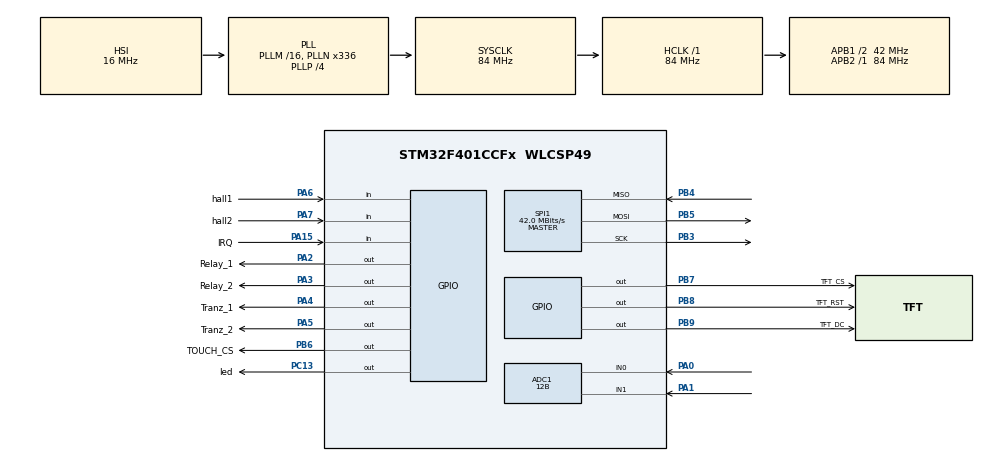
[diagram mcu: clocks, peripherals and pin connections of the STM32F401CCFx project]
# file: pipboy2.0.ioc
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Mcu.Family=STM32F4
RCC.CortexFreq_Value=84000000
SPI1.VirtualType=VM_MASTER
ADC1.ContinuousConvMode=DISABLE
PB6.GPIO_Label=TOUCH_CS
PA6.GPIO_Label=hall1
RCC.SYSCLKSource=RCC_SYSCLKSOURCE_PLLCLK
ProjectManager.StackSize=0x400
NVIC.ADC_IRQn=true\:0\:0\:false\:false\:true\:true\:true
PA15.GPIO_Label=IRQ
PH0\ -\ OSC_IN.Signal=RCC_OSC_IN
ADC1.Channel-5\#ChannelRegularConversion=ADC_CHANNEL_0
SPI1.Direction=SPI_DIRECTION_2LINES
RCC.HCLKFreq_Value=84000000
ADC1.Resolution=ADC_RESOLUTION_12B
RCC.APB2TimFreq_Value=84000000
PB6.Signal=GPIO_Output
SPI1.CalculateBaudRate=42.0 MBits/s
RCC.AHBFreq_Value=84000000
RCC.HSE_VALUE=25000000
PB3.Mode=Full_Duplex_Master
ADC1.ScanConvMode=DISABLE
PC13-ANTI_TAMP.Signal=GPIO_Output
PB4.Mode=Full_Duplex_Master
PC14-OSC32_IN.Mode=LSE-External-Oscillator
PB5.Mode=Full_Duplex_Master
PB7.Signal=GPIO_Output
SH.ADCx_IN0.0=ADC1_IN0,IN0
PB7.GPIO_Label=TFT_CS
Mcu.Package=WLCSP49
PB9.Signal=GPIO_Output
PA6.Signal=GPIO_Input
PA2.GPIO_Label=Relay_1
PA15.Signal=GPIO_Input
SH.ADCx_IN1.0=ADC1_IN1,IN1
RCC.APB1TimFreq_Value=84000000
SPI1.BaudRatePrescaler=SPI_BAUDRATEPRESCALER_2
PA4.GPIO_Label=Tranz_1
PB4.Signal=SPI1_MISO
PA3.Signal=GPIO_Output
PC15-OSC32_OUT.Mode=LSE-External-Oscillator
PB9.GPIO_Label=TFT_DC
PC13-ANTI_TAMP.GPIO_Label=led
PH1\ -\ OSC_OUT.Mode=HSE-External-Oscillator
RCC.APB1CLKDivider=RCC_HCLK_DIV2
PC14-OSC32_IN.Signal=RCC_OSC32_IN
PA0-WKUP.Signal=ADCx_IN0
PB8.GPIO_Label=TFT_RST
PH0\ -\ OSC_IN.Mode=HSE-External-Oscillator
ProjectManager.TargetToolchain=STM32CubeIDE
PC15-OSC32_OUT.Signal=RCC_OSC32_OUT
PA1.Signal=ADCx_IN1
PA5.Signal=GPIO_Output
PH1\ -\ OSC_OUT.Signal=RCC_OSC_OUT
board=custom
RCC.VCOOutputFreq_Value=336000000
RCC.APB2Freq_Value=84000000
SPI1.Mode=SPI_MODE_MASTER
ADC1.DMAContinuousRequests=DISABLE
ADC1.NbrOfConversion=1
Mcu.Name=STM32F401CCFx
PA2.Signal=GPIO_Output
ADC1.ExternalTrigConv=ADC_SOFTWARE_START
RCC.48MHZClocksFreq_Value=84000000
PB3.Signal=SPI1_SCK
PA4.Signal=GPIO_Output
RCC.SYSCLKFreq_VALUE=84000000
PB5.Signal=SPI1_MOSI
PA7.GPIO_Label=hall2
ADC1.master=1
PA5.GPIO_Label=Tranz_2
ProjectManager.HeapSize=0x200
ADC1.SamplingTime-5\#ChannelRegularConversion=ADC_SAMPLETIME_480CYCLES
RCC.HSI_VALUE=16000000
RCC.PLLP=RCC_PLLP_DIV4
NVIC.PriorityGroup=NVIC_PRIORITYGROUP_4
ADC1.NbrOfConversionFlag=1
RCC.PLLN=336
PB8.Signal=GPIO_Output
RCC.APB1Freq_Value=42000000
ADC1.Rank-5\#ChannelRegularConversion=1
PA3.GPIO_Label=Relay_2
PA7.Signal=GPIO_Input

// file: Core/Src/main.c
/* USER CODE BEGIN Header */
/**
  ******************************************************************************
  * @file           : main.c
  * @brief          : Main program body
  ******************************************************************************
  * @attention
  *
  * <h2><center>&copy; Copyright (c) 2021 STMicroelectronics.
  * All rights reserved.</center></h2>
  *
  * This software component is licensed by ST under BSD 3-Clause license,
  * the "License"; You may not use this file except in compliance with the
  * License. You may obtain a copy of the License at:
  *                        opensource.org/licenses/BSD-3-Clause
  *
  ******************************************************************************
  */
/* USER CODE END Header */
#include "main.h"

/* USER CODE BEGIN Includes */
#include "ILI9341_GFX.h"
#include "fonts.h"
#include "img.h"
#include "xpt2046_touch.h"
/* USER CODE END Includes */

/* USER CODE BEGIN PD */
void startup(void);
_Bool touch_work(void);
void main_cicle(void);
char buf[64] = {0,};
void draw_rect_tol (uint16_t kx1,uint16_t ky1,uint16_t kx2,uint16_t ky2,uint16_t fon,uint16_t tol);
uint8_t button_click(void);
void ADC_out(void);
void ADC_SetActiveChannel(ADC_HandleTypeDef *hadc, uint32_t AdcChannel);
void ADC_Select_CH0 (void);
void ADC_Select_CH1 (void);
uint32_t adcBuffer[2];
uint8_t flag_press = 1;
uint32_t time_press = 0;
int licznik = 0;
int adc_sum[2];
int adc_buf[2];
void adc_show(void);
uint8_t flag_hold = 1;
uint32_t timme_hold = 0;
void button_draw_icons(void);
void curent_state_raport(void);
void pneumo_start(void);
uint16_t t_installed[2] = {60,55 };
uint16_t t_readed[2] = {0,0};
_Bool menu_position[10] = {0,0,0,0,0,0,0,0,0,0};
void heaters_start(void);
void heaters_stop(void);
void perekluchatel(int passed);
int plus_minus_addon(int passed);
uint16_t x = 0;
uint16_t y = 0;
uint16_t buttons_coord[10][4]={
		{20,20,75,50},
		{95,20,150,50},
		{170,20,225,50},
		{245,20,300,50},
		{200,80,300,120},
		{200,140,300,180},

		{10,90,60,120},
		{70,90,120,120},
		{10,130,60,160},
		{70,130,120,160}		//test buttons

};

/* USER CODE END PD */

ADC_HandleTypeDef hadc1;

SPI_HandleTypeDef hspi1;

void SystemClock_Config(void);
static void MX_GPIO_Init(void);
static void MX_SPI1_Init(void);
static void MX_ADC1_Init(void);

int main(void)
{

  /* MCU Configuration--------------------------------------------------------*/

  /* Reset of all peripherals, Initializes the Flash interface and the Systick. */
  HAL_Init();

  /* Configure the system clock */
  SystemClock_Config();

  /* Initialize all configured peripherals */
  MX_GPIO_Init();
  MX_SPI1_Init();
  MX_ADC1_Init();
  /* USER CODE BEGIN 2 */
  startup();
  /* USER CODE END 2 */

  /* Infinite loop */
  while (1)
  {

    /* USER CODE BEGIN 3 */
	  main_cicle();
  }
  /* USER CODE END 3 */
}

void SystemClock_Config(void)
{
  RCC_OscInitTypeDef RCC_OscInitStruct = {0};
  RCC_ClkInitTypeDef RCC_ClkInitStruct = {0};

  /** Configure the main internal regulator output voltage
  */
  __HAL_RCC_PWR_CLK_ENABLE();
  __HAL_PWR_VOLTAGESCALING_CONFIG(PWR_REGULATOR_VOLTAGE_SCALE2);
  /** Initializes the RCC Oscillators according to the specified parameters
  * in the RCC_OscInitTypeDef structure.
  */
  RCC_OscInitStruct.OscillatorType = RCC_OSCILLATORTYPE_HSI;
  RCC_OscInitStruct.HSIState = RCC_HSI_ON;
  RCC_OscInitStruct.HSICalibrationValue = RCC_HSICALIBRATION_DEFAULT;
  RCC_OscInitStruct.PLL.PLLState = RCC_PLL_ON;
  RCC_OscInitStruct.PLL.PLLSource = RCC_PLLSOURCE_HSI;
  RCC_OscInitStruct.PLL.PLLM = 16;
  RCC_OscInitStruct.PLL.PLLN = 336;
  RCC_OscInitStruct.PLL.PLLP = RCC_PLLP_DIV4;
  RCC_OscInitStruct.PLL.PLLQ = 4;
  if (HAL_RCC_OscConfig(&RCC_OscInitStruct) != HAL_OK)
  {
    Error_Handler();
  }
  /** Initializes the CPU, AHB and APB buses clocks
  */
  RCC_ClkInitStruct.ClockType = RCC_CLOCKTYPE_HCLK|RCC_CLOCKTYPE_SYSCLK
                              |RCC_CLOCKTYPE_PCLK1|RCC_CLOCKTYPE_PCLK2;
  RCC_ClkInitStruct.SYSCLKSource = RCC_SYSCLKSOURCE_PLLCLK;
  RCC_ClkInitStruct.AHBCLKDivider = RCC_SYSCLK_DIV1;
  RCC_ClkInitStruct.APB1CLKDivider = RCC_HCLK_DIV2;
  RCC_ClkInitStruct.APB2CLKDivider = RCC_HCLK_DIV1;

  if (HAL_RCC_ClockConfig(&RCC_ClkInitStruct, FLASH_LATENCY_2) != HAL_OK)
  {
    Error_Handler();
  }
}

static void MX_ADC1_Init(void)
{

  ADC_ChannelConfTypeDef sConfig = {0};

  /** Configure the global features of the ADC (Clock, Resolution, Data Alignment and number of conversion)
  */
  hadc1.Instance = ADC1;
  hadc1.Init.ClockPrescaler = ADC_CLOCK_SYNC_PCLK_DIV4;
  hadc1.Init.Resolution = ADC_RESOLUTION_12B;
  hadc1.Init.ScanConvMode = DISABLE;
  hadc1.Init.ContinuousConvMode = DISABLE;
  hadc1.Init.DiscontinuousConvMode = DISABLE;
  hadc1.Init.ExternalTrigConvEdge = ADC_EXTERNALTRIGCONVEDGE_NONE;
  hadc1.Init.ExternalTrigConv = ADC_SOFTWARE_START;
  hadc1.Init.DataAlign = ADC_DATAALIGN_RIGHT;
  hadc1.Init.NbrOfConversion = 1;
  hadc1.Init.DMAContinuousRequests = DISABLE;
  hadc1.Init.EOCSelection = ADC_EOC_SINGLE_CONV;
  if (HAL_ADC_Init(&hadc1) != HAL_OK)
  {
    Error_Handler();
  }
  /** Configure for the selected ADC regular channel its corresponding rank in the sequencer and its sample time.
  */
  sConfig.Channel = ADC_CHANNEL_0;
  sConfig.Rank = 1;
  sConfig.SamplingTime = ADC_SAMPLETIME_480CYCLES;
  if (HAL_ADC_ConfigChannel(&hadc1, &sConfig) != HAL_OK)
  {
    Error_Handler();
  }

}

static void MX_SPI1_Init(void)
{

  /* SPI1 parameter configuration*/
  hspi1.Instance = SPI1;
  hspi1.Init.Mode = SPI_MODE_MASTER;
  hspi1.Init.Direction = SPI_DIRECTION_2LINES;
  hspi1.Init.DataSize = SPI_DATASIZE_8BIT;
  hspi1.Init.CLKPolarity = SPI_POLARITY_LOW;
  hspi1.Init.CLKPhase = SPI_PHASE_1EDGE;
  hspi1.Init.NSS = SPI_NSS_SOFT;
  hspi1.Init.BaudRatePrescaler = SPI_BAUDRATEPRESCALER_2;
  hspi1.Init.FirstBit = SPI_FIRSTBIT_MSB;
  hspi1.Init.TIMode = SPI_TIMODE_DISABLE;
  hspi1.Init.CRCCalculation = SPI_CRCCALCULATION_DISABLE;
  hspi1.Init.CRCPolynomial = 10;
  if (HAL_SPI_Init(&hspi1) != HAL_OK)
  {
    Error_Handler();
  }

}

static void MX_GPIO_Init(void)
{
  GPIO_InitTypeDef GPIO_InitStruct = {0};

  /* GPIO Ports Clock Enable */
  __HAL_RCC_GPIOA_CLK_ENABLE();
  __HAL_RCC_GPIOB_CLK_ENABLE();
  __HAL_RCC_GPIOC_CLK_ENABLE();
  __HAL_RCC_GPIOH_CLK_ENABLE();

  /*Configure GPIO pin Output Level */
  HAL_GPIO_WritePin(GPIOB, TFT_RST_Pin|TOUCH_CS_Pin|TFT_DC_Pin|TFT_CS_Pin, GPIO_PIN_RESET);

  /*Configure GPIO pin Output Level */
  HAL_GPIO_WritePin(led_GPIO_Port, led_Pin, GPIO_PIN_RESET);

  /*Configure GPIO pin Output Level */
  HAL_GPIO_WritePin(GPIOA, Relay_2_Pin|Relay_1_Pin|Tranz_2_Pin|Tranz_1_Pin, GPIO_PIN_RESET);

  /*Configure GPIO pins : IRQ_Pin hall2_Pin hall1_Pin */
  GPIO_InitStruct.Pin = IRQ_Pin|hall2_Pin|hall1_Pin;
  GPIO_InitStruct.Mode = GPIO_MODE_INPUT;
  GPIO_InitStruct.Pull = GPIO_NOPULL;
  HAL_GPIO_Init(GPIOA, &GPIO_InitStruct);

  /*Configure GPIO pins : TFT_RST_Pin TOUCH_CS_Pin TFT_DC_Pin TFT_CS_Pin */
  GPIO_InitStruct.Pin = TFT_RST_Pin|TOUCH_CS_Pin|TFT_DC_Pin|TFT_CS_Pin;
  GPIO_InitStruct.Mode = GPIO_MODE_OUTPUT_PP;
  GPIO_InitStruct.Pull = GPIO_NOPULL;
  GPIO_InitStruct.Speed = GPIO_SPEED_FREQ_LOW;
  HAL_GPIO_Init(GPIOB, &GPIO_InitStruct);

  /*Configure GPIO pin : led_Pin */
  GPIO_InitStruct.Pin = led_Pin;
  GPIO_InitStruct.Mode = GPIO_MODE_OUTPUT_PP;
  GPIO_InitStruct.Pull = GPIO_NOPULL;
  GPIO_InitStruct.Speed = GPIO_SPEED_FREQ_LOW;
  HAL_GPIO_Init(led_GPIO_Port, &GPIO_InitStruct);

  /*Configure GPIO pins : Relay_2_Pin Relay_1_Pin Tranz_2_Pin Tranz_1_Pin */
  GPIO_InitStruct.Pin = Relay_2_Pin|Relay_1_Pin|Tranz_2_Pin|Tranz_1_Pin;
  GPIO_InitStruct.Mode = GPIO_MODE_OUTPUT_PP;
  GPIO_InitStruct.Pull = GPIO_PULLDOWN;
  GPIO_InitStruct.Speed = GPIO_SPEED_FREQ_LOW;
  HAL_GPIO_Init(GPIOA, &GPIO_InitStruct);

}

/* USER CODE BEGIN 4 */
void startup(void){
	__HAL_SPI_ENABLE(DISP_SPI_PTR); // включаем SPI
	 // HAL_TIM_Base_Start(&htim2);
	 // HAL_ADC_Start_DMA(&hadc1, adcBuffer, 2);
	 HAL_ADC_Start(&hadc1);
	  DISP_CS_UNSELECT;
	  TOUCH_CS_UNSELECT; // это нужно только если есть тач

	  /////////////////////////////////////////////////////////////////////////////////////////////////////////////////
	  ILI9341_Init(); // инициализация дисплея

	  /////////////////////////// далее демонстрируются различные пользовательские функции ////////////////////////////
	  ILI9341_Set_Rotation(SCREEN_HORIZONTAL_2); // установка ориентации экрана (варианты в файле ILI9341_GFX.h)

	  /////////////////////////////////////////////////////////////////////////////////////////////////////////////////
	  ILI9341_Fill_Screen(MYFON); // заливка всего экрана цветом (цвета в файле ILI9341_GFX.h)
	  //ILI9341_WriteString(10, 10, "Hello World", Font_7x10, WHITE, MYFON);

	  button_draw();
	  button_draw_icons();
}

_Bool touch_work(void)
{

	_Bool what_to_send = 0;
  if(HAL_GPIO_ReadPin(IRQ_GPIO_Port, IRQ_Pin) == GPIO_PIN_RESET && flag_press) // если нажат тачскрин
  {

	  	  x = 0;
          y = 0;

          TOUCH_CS_UNSELECT;
          DISP_CS_UNSELECT;

          HAL_SPI_DeInit(DISP_SPI_PTR);
          hspi1.Init.BaudRatePrescaler = SPI_BAUDRATEPRESCALER_128;
          HAL_SPI_Init(DISP_SPI_PTR);

          if(ILI9341_TouchGetCoordinates(&x, &y))
          {
                  flag_press = 0;
                  what_to_send = 1;

                  //////// вывод координат в уарт для отладки ////////
//                  snprintf(buf, 64, "X = %d, Y = %d\n", x, y);
//                  //HAL_UART_Transmit(&huart1, (uint8_t*)buf, strlen(buf), 100);
//                  buf[strlen(buf) - 1] = '\0';
                  ////////////////////////////////////////////////////
          }

          HAL_SPI_DeInit(DISP_SPI_PTR);
          hspi1.Init.BaudRatePrescaler = SPI_BAUDRATEPRESCALER_2;
          HAL_SPI_Init(DISP_SPI_PTR);

          __HAL_SPI_ENABLE(DISP_SPI_PTR);
          DISP_CS_SELECT;

          time_press = HAL_GetTick();
  }

  if(!flag_press && (HAL_GetTick() - time_press) > 200) // задержка до следующего нажатия
  {
          flag_press = 1;
  }

  //////////////////////////// удержание кнопки //////////////////////////////
  if(!flag_hold && HAL_GPIO_ReadPin(IRQ_GPIO_Port, IRQ_Pin) != GPIO_PIN_RESET)
  {
          flag_hold = 1;
  }

  if(!flag_hold && (HAL_GetTick() - timme_hold) > 2000) // 2 sek удержание кнопки
  {
          if(HAL_GPIO_ReadPin(IRQ_GPIO_Port, IRQ_Pin) == GPIO_PIN_RESET)
          {
//                  if(x > 5 && x < 90 && y > 160 && y < 230) // первая кнопка
//                  {
//                          //HAL_UART_Transmit(&huart1, (uint8_t*)"LONG PRESS_1\n", 13, 100); // отладка
//                          ILI9341_WriteString(10, 150, "LONG PRESS_1", Font_11x18, WHITE, MYFON); // отладка
//                          // что-то делаем
//                  }
//                  else if(x > 100 && x < 200 && y > 160 && y < 230) // вторая кнопка
//                  {
//                         // HAL_UART_Transmit(&huart1, (uint8_t*)"LONG PRESS_2\n", 13, 100); // отладка
//                          ILI9341_WriteString(10, 150, "LONG PRESS_1", Font_11x18, WHITE, MYFON); // отладка
//                          // что-то делаем
//                  }
          }

          flag_hold = 1;
  }
   return what_to_send;
}

void main_cicle(void){
int ff;
	if(touch_work()){
		ff = button_click();
		//if()
		//perekluchatel(plus_minus_addon(ff));
//		snprintf(buf, 64, "X = %d, Y = %d\n", x, y);
//		ILI9341_WriteString(10, 120, buf, Font_7x10, WHITE, MYFON);
//		snprintf(buf, 64, "button = %d", ff);
//		ILI9341_WriteString(10, 170, buf, Font_7x10, WHITE, MYFON);
		//perekluchatel();
	}
	ADC_out();
	adc_show();
//	for(int i=0;i<6;i++){
//		snprintf(buf, 64, "%d", menu_position[i] );
//		ILI9341_WriteString(10+10*i, 120, buf, Font_7x10, WHITE, MYFON);
//	}

	perekluchatel(ff);

curent_state_raport();
}

void adc_show(void){
		snprintf(buf, 64, "T GOL = %d", adc_buf[0]);
		ILI9341_WriteString(10, 230, buf, Font_7x10, WHITE, MYFON);
		snprintf(buf, 64, "T TRU = %d", adc_buf[1]);
		ILI9341_WriteString(100, 230, buf, Font_7x10, WHITE, MYFON);

		snprintf(buf, 64, "T GOL instal = %d", t_installed[0]);
		ILI9341_WriteString(10, 210, buf, Font_7x10, WHITE, MYFON);
		snprintf(buf, 64, "T TRUB instal = %d", t_installed[1]);
		ILI9341_WriteString(160, 210, buf, Font_7x10, WHITE, MYFON);

}

void curent_state_raport(void){
	for(int i=0;i<10;i++){
			snprintf(buf, 64, "%d", menu_position[i] );
			ILI9341_WriteString(10+10*i, 70, buf, Font_7x10, WHITE, MYFON);
		}
}

void button_draw(void){
	for(int i = 0; i <10; i++){
		draw_rect_tol(buttons_coord[i][0],buttons_coord[i][1],buttons_coord[i][2],buttons_coord[i][3],RED,3);
		//ILI9341_WriteString(buttons_coord[i][0]+5, buttons_coord[i][1]+5,but_icons[i], Font_7x10, RED, MYFON);
	}
}
void button_draw_icons(void){
	char *but_icons[10] ={
	"golovka",
	"truba",
	"start",
	"pneumo",
	"plus",
	"minus",
	"R 1",
	"R 2",
	"T 1",
	"T 2"
	};
	for(int i = 0; i <10; i++){
			//draw_rect_tol(buttons_coord[i][0],buttons_coord[i][1],buttons_coord[i][2],buttons_coord[i][3],RED,3);
			ILI9341_WriteString(buttons_coord[i][0]+5, buttons_coord[i][1]+5,but_icons[i], Font_7x10, RED, MYFON);
		}
}

void draw_rect_tol (uint16_t kx1,uint16_t ky1,uint16_t kx2,uint16_t ky2,uint16_t fon,uint16_t tol){
	for(int i=0;i<tol;i++){
		ILI9341_Draw_Hollow_Rectangle_Coord(kx1-i, ky1-i, kx2+i, ky2+i, fon);
	}
}

uint8_t button_click(void){
	uint8_t what_to_return;
	_Bool is_the_flag = 0;
	for(int i = 0; i <10; i++){
		if(x > buttons_coord[i][0] && x < buttons_coord[i][2] && y > buttons_coord[i][1] && y < buttons_coord[i][3]){

			draw_rect_tol(buttons_coord[i][0],buttons_coord[i][1],buttons_coord[i][2],buttons_coord[i][3],GREEN,3);
			HAL_Delay(500);
			draw_rect_tol(buttons_coord[i][0],buttons_coord[i][1],buttons_coord[i][2],buttons_coord[i][3],RED,3);

			what_to_return = i;
			is_the_flag = 1;
			menu_position[i] = !menu_position[i];

			break;
		}

	}
	if(is_the_flag == 0){
		what_to_return = 10;
	}
	return what_to_return;
}

void ADC_SetActiveChannel(ADC_HandleTypeDef *hadc, uint32_t AdcChannel)
{
  ADC_ChannelConfTypeDef sConfig = {0};
  sConfig.Channel = AdcChannel;
  sConfig.Rank = 1;
  sConfig.SamplingTime = ADC_SAMPLETIME_3CYCLES;
  if (HAL_ADC_ConfigChannel(hadc, &sConfig) != HAL_OK)
  {
   Error_Handler();
  }
}

void ADC_out(void){
 int preskal = 100;

	if(HAL_ADC_PollForConversion(&hadc1, 100) == HAL_OK)
	    {
		adcBuffer[0] = HAL_ADC_GetValue(&hadc1); // Get X value
	      ADC_SetActiveChannel(&hadc1, ADC_CHANNEL_0);
	      HAL_ADC_Start(&hadc1);
	    }

	    if(HAL_ADC_PollForConversion(&hadc1, 100) == HAL_OK)
	    {
	    	adcBuffer[1] = HAL_ADC_GetValue(&hadc1); // Get Y value
	      ADC_SetActiveChannel(&hadc1, ADC_CHANNEL_1);//PB 0
	      HAL_ADC_Start(&hadc1);
	    }

	    adc_sum[0]+=adcBuffer[0];
	    adc_sum[1]+=adcBuffer[1];
	    licznik+=1;
	    if(licznik >= preskal){
	    	licznik = 0;
	    	 adc_buf[0] =  (adc_sum[0]/preskal)/25;
	    	 adc_buf[1] =  (adc_sum[1]/preskal)/25;
	    	 adc_sum[0]=0;//возожно где то здесь гимор
	    	 adc_sum[1]=0;
//	snprintf(buf, 64, "ADC 0 = %d", adc_sum[0]/25);
//	ILI9341_WriteString(10, 200, buf, Font_7x10, WHITE, MYFON);
//	snprintf(buf, 64, "ADC 1 = %d", adc_sum[1]/25);
//	ILI9341_WriteString(10, 220, buf, Font_7x10, WHITE, MYFON);
	    }

}
//char *but_icons[6] ={
//	"t pre",
//	"t heat",
//	"start",
//	"stop",
//	"plus",
//	"minus"
//	};

void perekluchatel(int ff){

	if(menu_position[0] == 1 && menu_position[4] == 1){
				ff=10;
				t_installed[0] = t_installed[0]+1;
				menu_position[4] = 0;
				}else if(menu_position[0] == 1 && menu_position[5] == 1){
				ff = 10;
				t_installed[0] = t_installed[0]-1;
				menu_position[5] = 0;
				}
		if(menu_position[1] == 1 && menu_position[4] == 1){
					ff=10;
					t_installed[1] = t_installed[1]+1;
					menu_position[4] = 0;
					}else if(menu_position[1] == 1 && menu_position[5] == 1){
					ff = 10;
					menu_position[5] = 0;
					t_installed[1] = t_installed[1]-1;
				}
		if(menu_position[2] == 1){
			heaters_start();
		} else if(menu_position[2] == 0){
			heaters_stop();
		}
		if(menu_position[3] == 1){
			menu_position[3] = 0;
				pneumo_start();
		}

		if(menu_position[6] == 1){
			HAL_GPIO_WritePin(GPIOA, Relay_1_Pin, GPIO_PIN_SET);
			} else if(menu_position[6] == 0){
				HAL_GPIO_WritePin(GPIOA, Relay_1_Pin, GPIO_PIN_RESET);
				}

		if(menu_position[7] == 1){
					HAL_GPIO_WritePin(GPIOA, Relay_2_Pin, GPIO_PIN_SET);
					} else if(menu_position[7] == 0){
						HAL_GPIO_WritePin(GPIOA, Relay_2_Pin, GPIO_PIN_RESET);
						}
		if(menu_position[8] == 1){
					HAL_GPIO_WritePin(GPIOA, Tranz_1_Pin, GPIO_PIN_SET);
					} else if(menu_position[8] == 0){
						HAL_GPIO_WritePin(GPIOA, Tranz_1_Pin, GPIO_PIN_RESET);
						}
		if(menu_position[9] == 1){
							HAL_GPIO_WritePin(GPIOA, Tranz_2_Pin, GPIO_PIN_SET);
							} else if(menu_position[9] == 0){
								HAL_GPIO_WritePin(GPIOA, Tranz_2_Pin, GPIO_PIN_RESET);
								}

}

int plus_minus_addon(int passed){
	int i = 0;
	if(passed==4){
		i=i+1;
	}else if(passed==5){
		i=i-1;
	}
	return i;
}

void heaters_start(void){
	if( adc_buf[0]<t_installed[0]){
		 HAL_GPIO_WritePin(GPIOA, Relay_1_Pin, GPIO_PIN_SET);
		 ILI9341_WriteString(20, 180,"heater GL start", Font_7x10, WHITE, MYFON);
	} else if( adc_buf[0]>=t_installed[0]){
		 HAL_GPIO_WritePin(GPIOA, Relay_1_Pin, GPIO_PIN_RESET);
		 ILI9341_WriteString(20, 180,"heater GL stop ", Font_7x10, WHITE, MYFON);
	}
	if( adc_buf[1]<t_installed[1]){
			 HAL_GPIO_WritePin(GPIOA, Relay_2_Pin, GPIO_PIN_SET);
			 ILI9341_WriteString(20, 190,"heater TR start", Font_7x10, WHITE, MYFON);
		} else if( adc_buf[1]>=t_installed[1]){
			 HAL_GPIO_WritePin(GPIOA, Relay_2_Pin, GPIO_PIN_RESET);
			 ILI9341_WriteString(20, 190,"heater TR stop", Font_7x10, WHITE, MYFON);
		}
}
void heaters_stop(void){
	 HAL_GPIO_WritePin(GPIOA, Relay_2_Pin|Relay_1_Pin,GPIO_PIN_RESET);
	 ILI9341_WriteString(20, 190,"heater GL STOP ", Font_7x10, WHITE, MYFON);
	 ILI9341_WriteString(20, 180,"heater TR STOP ", Font_7x10, WHITE, MYFON);
}

void pneumo_start(void){
	ILI9341_WriteString(20, 140,"Pneumo start ", Font_7x10, WHITE, MYFON);
	ILI9341_WriteString(20, 160,"pistone pressed  ", Font_7x10, WHITE, MYFON);
	 HAL_GPIO_WritePin(GPIOA, Tranz_1_Pin,GPIO_PIN_SET);
	 HAL_GPIO_WritePin(GPIOA, Tranz_2_Pin,GPIO_PIN_RESET);
	 HAL_Delay(3000);
	 ILI9341_WriteString(20, 160,"pistone released", Font_7x10, WHITE, MYFON);
	 HAL_GPIO_WritePin(GPIOA, Tranz_1_Pin,GPIO_PIN_RESET);
	 HAL_GPIO_WritePin(GPIOA, Tranz_2_Pin,GPIO_PIN_SET);
	 HAL_Delay(2000);
	 HAL_GPIO_WritePin(GPIOA, Tranz_1_Pin,GPIO_PIN_RESET);
	 HAL_GPIO_WritePin(GPIOA, Tranz_2_Pin,GPIO_PIN_RESET);
	 ILI9341_WriteString(20, 140,"Pneumo STOP   ", Font_7x10, WHITE, MYFON);
	 ILI9341_WriteString(20, 160,"xxxxxxx xxxxxxxx", Font_7x10, WHITE, MYFON);
}

/* USER CODE END 4 */

void Error_Handler(void)
{
  __disable_irq();
  while (1)
  {
  }
}

/************************ (C) COPYRIGHT STMicroelectronics *****END OF FILE****/
